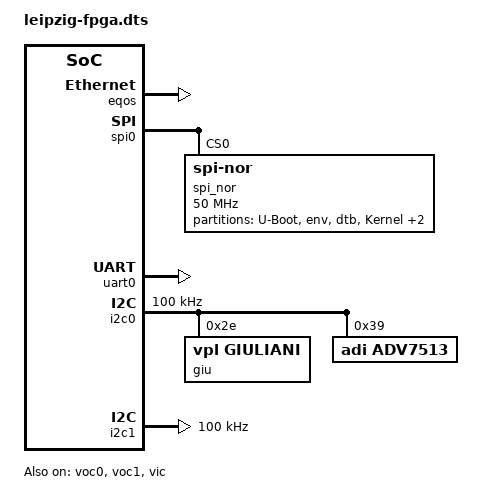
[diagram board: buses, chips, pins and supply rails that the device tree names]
// SPDX-License-Identifier: GPL-2.0-only
/*
 *
 * Copyright (C) 2023 VATICS Inc.
 *
 */
/dts-v1/;

#include "leipzig-fpga.dtsi"
#include "leipzig-fpga-pinctrl.dtsi"
#include "leipzig_parallel_sensor.dtsi"

/ {
	soc {
		eqos: dweqos@c4000000 {
			status = "okay";
			pinctrl-names = "default";
			pinctrl-0 = <&eqosc_pins>;
		};

		nand: nand@bc100000 {
			#address-cells = <1>;
			#size-cells = <1>;
			status = "disable";
			compatible = "evatronix,nandflash-ctrl";
			reg = <0xbc100000 0x2000>;
			interrupts = <GIC_SPI 13 IRQ_TYPE_LEVEL_HIGH>;
			timings = <0x0c140e33 0x00000404 0x00000023 0x00150000 0x00000000 0x00000005 0x00000015>;
			nand-ecc-mode = "hw";
			nand-on-flash-bbt;
			nand-ecc-strength = <8>;
			nand-ecc-step-size = <512>;

			device_type = "mtd";
			partition@0 {
				label = "nand-bootldr";
				reg = <0x00000000 0x08000000>;
				#reg = <0x015E0000 0x06a20000>;
			};
			partition@1 {
				label = "nand-env";
				reg = <0x00140000 0x00a00000>;
			};
			partition@2 {
				label = "nand-kernel";
				reg = <0x001e0000 0x00400000>;
			};
			partition@3 {
				label = "nand-rootfs";
				reg = <0x005e0000 0x01000000>;
			};
			partition@4 {
				label = "nand-ubifs";
				reg = <0x015e0000 0x06a20000>;
			};
		};
	};
};

&spi0 {
	status = "okay";
	rx-sample-delay-ns = <10>;
	spi_nor@0 {
		#address-cells = <1>;
		#size-cells = <1>;
		compatible = "jedec,spi-nor";
		reg = <0>;
		spi-max-frequency = <50000000>;
		m25p,fast-read;
		spi-cpha;
		spi-cpol;
		partitions {
			compatible = "fixed-partitions";
			#address-cells = <1>;
			#size-cells = <1>;
			partition@0 {
				label = "U-Boot";
				reg = <0x00000000 0x00140000>;
			};
			partition@1 {
				label = "env";
				reg = <0x00140000 0x00040000>;
			};
			partition@2 {
				label = "dtb";
				reg = <0x00180000 0x00010000>;
			};
			partition@3 {
				label = "Kernel";
				reg = <0x00190000 0x002e0000>;
			};
			partition@4 {
				label = "Rootfs";
				reg = <0x00470000 0x00470000>;
			};
			partition@5 {
				label = "Jffs2";
				reg = <0x008e0000 0x00720000>;
			};
		};
	};
};

&uart0 {
	status = "okay";
	pinctrl-names = "default";
	pinctrl-0 = <&uart0_p0_s0_pins>;
};

&i2c0 {
	status = "okay";
	clock-frequency = <100000>;
	pinctrl-names = "default";
	pinctrl-0 = <&i2c0_pins>;
	giu:giu@2e{
		compatible = "vpl,giuliani";
		reg = <0x2e>;
	};

	adv7513@39 {
		compatible = "adi,adv7513";
		reg = <0x39>;
	};
};

&i2c1 {
	status = "okay";
	clock-frequency = <100000>;
	pinctrl-names = "default";
	pinctrl-0 = <&i2c1_p1_pins>;
};

&i2c2 {
	status = "disable";
	clock-frequency = <100000>;
};

/*
 * &mmc0 {
 *	status = "okay";
 *	pinctrl-names = "default";
 *	pinctrl-0 = <&mshc_pins>;
 *};
 */
/*
 * &mmc1 {
 *	status = "okay";
 *	pinctrl-names = "default";
 *	pinctrl-0 = <&mshc_pins>;
 * };
 */

&gpio0 {
	status = "okay";
};

&gpio1 {
	status = "okay";
};

&gpio2 {
	status = "okay";
};

&voc0 {
	status = "okay";
};

&voc1 {
	status = "okay";
};

&vic {
	status = "okay";
	pinctrl-names = "default";
	pinctrl-0 = <&vic0_pins>;
};
/*
 * &usb {
 *	status = "okay";
 *	dr_mode = "dual";
 * };
 *
 * &usbphy {
 *	status = "okay";
 * };
 */
